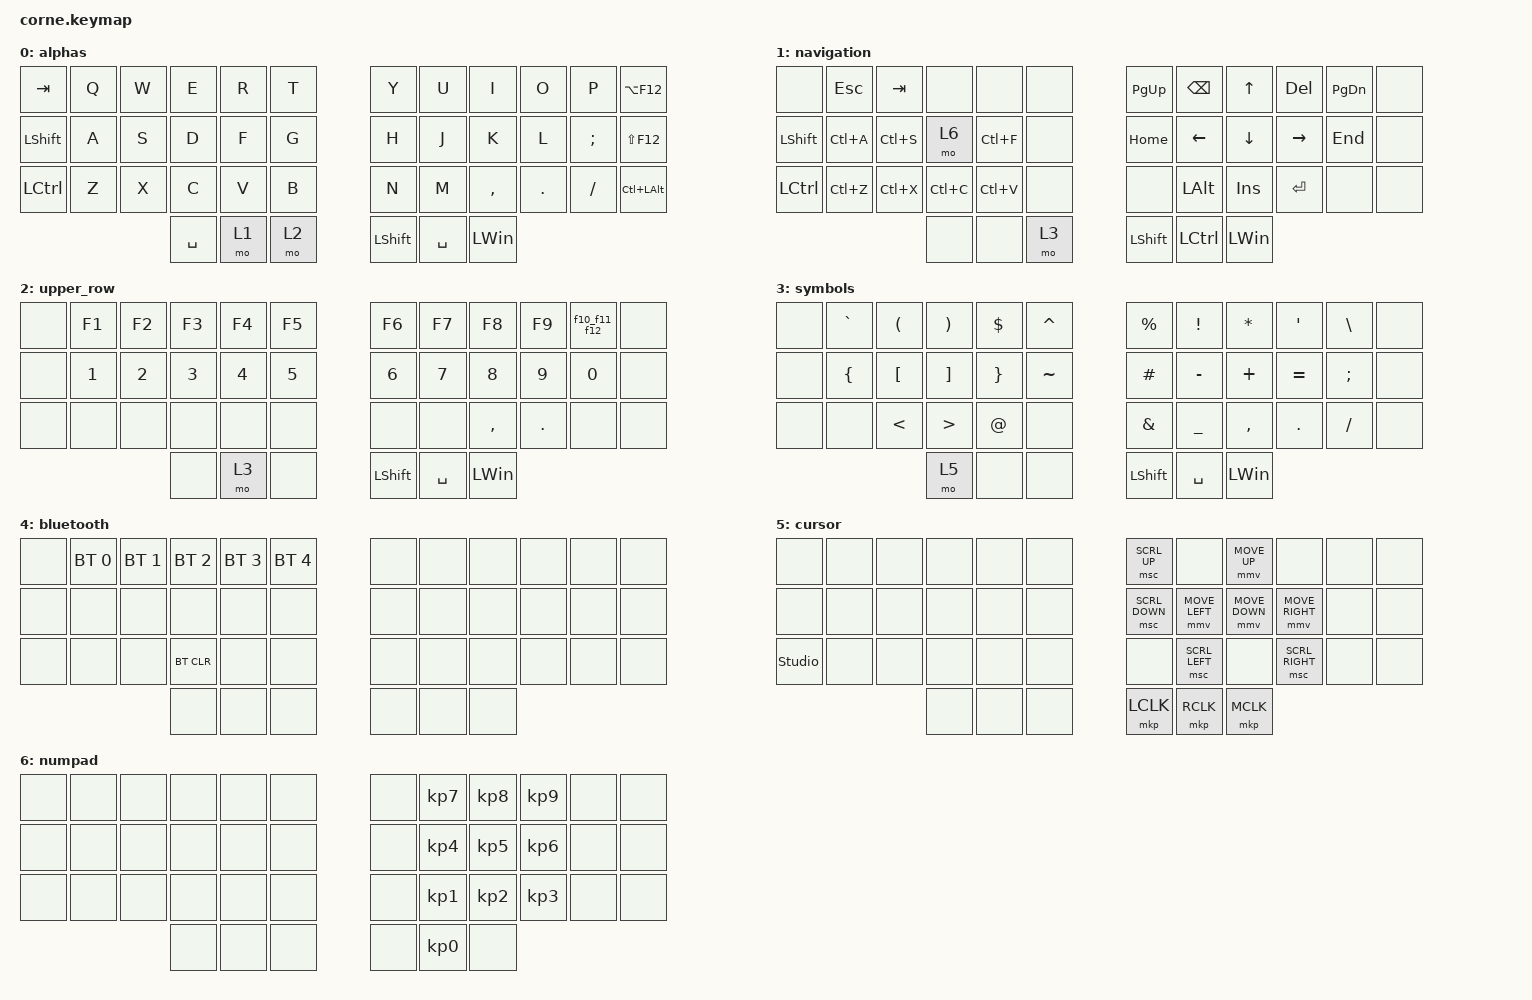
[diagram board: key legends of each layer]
/*
 * Copyright (c) 2020 The ZMK Contributors
 *
 * SPDX-License-Identifier: MIT
 */

#include <behaviors.dtsi>
#include <dt-bindings/zmk/bt.h>
#include <dt-bindings/zmk/keys.h>
#include <dt-bindings/zmk/pointing.h>

/ {
    combos {
        compatible = "zmk,combos";

        toggle_bluetooth {
            bindings = <&tog 4>;
            key-positions = <29 5>;
        };

        toggle_gaming {
            bindings = <&tog 0>;
            key-positions = <2 13 15>;
        };

        Sleep {
            bindings = <&kp C_SLEEP_MODE>;
            key-positions = <19 20 21 40 22>;
        };
    };

    behaviors {
        my_mod_tap: my_mod_tap {
            compatible = "zmk,behavior-hold-tap";
            label = "MY_MOD_TAP";
            bindings = <&kp>, <&kp>;

            #binding-cells = <2>;
            tapping-term-ms = <200>;
            flavor = "tap-preferred";
        };

        f10_f11_f12: f10_f11_f12 {
            compatible = "zmk,behavior-tap-dance";
            label = "F10_F11_F12";
            #binding-cells = <0>;
            bindings = <&kp F10>, <&kp F11>, <&kp F12>;
        };
    };

    keymap {
        compatible = "zmk,keymap";

        alphas {
            // -----------------------------------------------------------------------------------------
            // |  TAB |  Q  |  W  |  E  |  R  |  T  |   |  Y  |  U   |  I  |  O  |  P  | BKSP |
            // | CTRL |  A  |  S  |  D  |  F  |  G  |   |  H  |  J   |  K  |  L  |  ;  |  '   |
            // | SHFT |  Z  |  X  |  C  |  V  |  B  |   |  N  |  M   |  ,  |  .  |  /  | ESC  |
            //                    | GUI | LWR | SPC |   | ENT | RSE  | ALT |

            bindings = <
&kp TAB           &kp Q  &kp W  &kp E      &kp R  &kp T    &kp Y           &kp U      &kp I         &kp O       &kp P          &kp LA(F12)
&kp LEFT_SHIFT    &kp A  &kp S  &kp D      &kp F  &kp G    &kp H           &kp J      &kp K         &kp L       &kp SEMICOLON  &kp LS(F12)
&kp LEFT_CONTROL  &kp Z  &kp X  &kp C      &kp V  &kp B    &kp N           &kp M      &kp COMMA     &kp PERIOD  &kp SLASH      &kp LC(LEFT_ALT)
                                &kp SPACE  &mo 1  &mo 2    &kp LEFT_SHIFT  &kp SPACE  &kp LEFT_WIN
            >;
        };

        navigation {
            // -----------------------------------------------------------------------------------------
            // |  TAB |  1  |  2  |  3  |  4  |  5  |   |  6  |  7  |  8  |  9  |  0  | BKSP |
            // | BTCLR| BT1 | BT2 | BT3 | BT4 | BT5 |   | LFT | DWN |  UP | RGT |     |      |
            // | SHFT |     |     |     |     |     |   |     |     |     |     |     |      |
            //                    | GUI |     | SPC |   | ENT |     | ALT |

            bindings = <
&none             &kp ESCAPE  &kp TAB    &none      &none      &none    &kp PG_UP       &kp BACKSPACE  &kp UP        &kp DELETE  &kp PAGE_DOWN  &none
&kp LEFT_SHIFT    &kp LC(A)   &kp LC(S)  &mo 6      &kp LC(F)  &none    &kp HOME        &kp LEFT       &kp DOWN      &kp RIGHT   &kp END        &none
&kp LEFT_CONTROL  &kp LC(Z)   &kp LC(X)  &kp LC(C)  &kp LC(V)  &none    &none           &kp LEFT_ALT   &kp INSERT    &kp ENTER   &none          &none
                                         &none      &none      &mo 3    &kp LEFT_SHIFT  &kp LCTRL      &kp LEFT_WIN
            >;
        };

        upper_row {
            bindings = <
&none  &kp F1  &kp F2  &kp F3  &kp F4  &kp F5    &kp F6          &kp F7     &kp F8        &kp F9   &f10_f11_f12  &none
&none  &kp N1  &kp N2  &kp N3  &kp N4  &kp N5    &kp N6          &kp N7     &kp N8        &kp N9   &kp N0        &none
&none  &none   &none   &none   &none   &none     &none           &none      &kp COMMA     &kp DOT  &none         &none
                       &none   &mo 3   &none     &kp LEFT_SHIFT  &kp SPACE  &kp LEFT_WIN
            >;
        };

        symbols {
            bindings = <
&none  &kp GRAVE       &kp LEFT_PARENTHESIS  &kp RIGHT_PARENTHESIS  &kp DOLLAR       &kp CARET    &kp PERCENT     &kp EXCL        &kp ASTERISK  &kp APOS   &kp BACKSLASH  &none
&none  &kp LEFT_BRACE  &kp LEFT_BRACKET      &kp RIGHT_BRACKET      &kp RIGHT_BRACE  &kp TILDE    &kp HASH        &kp MINUS       &kp PLUS      &kp EQUAL  &kp SEMICOLON  &none
&none  &none           &kp LESS_THAN         &kp GREATER_THAN       &kp AT           &none        &kp AMPERSAND   &kp UNDERSCORE  &kp COMMA     &kp DOT    &kp SLASH      &none
                                             &mo 5                  &none            &none        &kp LEFT_SHIFT  &kp SPACE       &kp LEFT_WIN
            >;
        };

        bluetooth {
            bindings = <
&none  &bt BT_SEL 0  &bt BT_SEL 1  &bt BT_SEL 2  &bt BT_SEL 3  &bt BT_SEL 4    &none  &none  &none  &none  &none  &none
&none  &none         &none         &none         &none         &none           &none  &none  &none  &none  &none  &none
&none  &none         &none         &bt BT_CLR    &none         &none           &none  &none  &none  &none  &none  &none
                                   &none         &none         &none           &none  &none  &none
            >;
        };

        cursor {
            bindings = <
&none  &none  &none  &none  &none  &none    &msc SCRL_UP    &none           &mmv MOVE_UP    &none            &none  &none
&none  &none  &none  &none  &none  &none    &msc SCRL_DOWN  &mmv MOVE_LEFT  &mmv MOVE_DOWN  &mmv MOVE_RIGHT  &none  &none
&studio_unlock  &none  &none  &none  &none  &none    &none           &msc SCRL_LEFT  &none           &msc SCRL_RIGHT  &none  &none
                     &none  &none  &none    &mkp LCLK       &mkp RCLK       &mkp MCLK
            >;
        };

        numpad {
            bindings = <
&none  &none  &none  &none  &none  &none    &none  &kp KP_NUMBER_7  &kp KP_NUMBER_8  &kp KP_NUMBER_9  &none  &none
&none  &none  &none  &none  &none  &none    &none  &kp KP_NUMBER_4  &kp KP_NUMBER_5  &kp KP_NUMBER_6  &none  &none
&none  &none  &none  &none  &none  &none    &none  &kp KP_NUMBER_1  &kp KP_NUMBER_2  &kp KP_NUMBER_3  &none  &none
                     &none  &none  &none    &none  &kp KP_NUMBER_0  &none
            >;
        };
    };

    conditional_layers { compatible = "zmk,conditional-layers"; };
};
